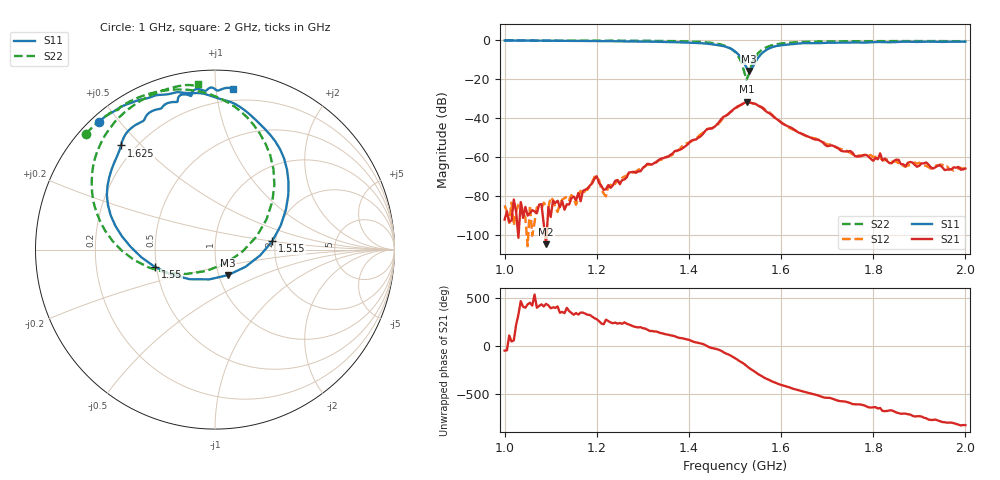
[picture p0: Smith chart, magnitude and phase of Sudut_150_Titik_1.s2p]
# Hz S RI R 50
! CMT, C1220, 16058040, 17.2.0/1
! Date: 14/08/2018 12:56:04
! Data: Format (Calibration Info)
! Freq  S11: Re/Im (F2)  S21: Re/Im (F2)  S12: Re/Im (F2)  S22: Re/Im (F2)
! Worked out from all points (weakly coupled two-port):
!   201 points, 1 GHz to 2 GHz, reference 50 ohm
!   highest |S21| = -31.66 dB at 1.525 GHz (marker M1); lowest = -104.5 dB at 1.09 GHz (marker M2)
!   lowest |S11| = -15.9 dB at 1.53 GHz (marker M3), VSWR 1.38, Z = 55.5 - j16.1 ohm
!   |S11| at or under -10 dB: 1.515 GHz to 1.548 GHz (32.35 MHz wide, 2.11 % of centre)
!   |S22| runs from -20.3 to -0.3 dB; largest |S21 - S12| = 0.0011
!   S11 on the Smith chart (normalised r, x): 1 GHz: 0.02, +0.44; 1.515 GHz: 1.92, +0.20; 1.55 GHz: 0.49, -0.11; 1.625 GHz: 0.15, +0.44; 2 GHz: 0.12, +1.11
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1e9  -0.6467 0.7135  1.72e-05 -1.88e-05  2.04e-05 5.52e-05  -0.719 0.6457
1.09e9  -0.548 0.7805  1.23e-06 5.82e-06  2.91e-05 4.57e-05  -0.6508 0.7102
1.165e9  -0.4625 0.819  7.32e-05 -1.64e-05  0.000127 -5.55e-05  -0.5822 0.7625
1.17e9  -0.4561 0.8219  0.000134 -3.01e-05  8.6e-05 -7.39e-05  -0.5767 0.7655
1.2e9  -0.411 0.836  4.89e-05 -0.000322  5.49e-05 -0.000315  -0.5429 0.7776
1.22e9  -0.3821 0.8419  1.03e-05 -0.000155  8.8e-06 -9.92e-05  -0.5307 0.791
1.225e9  -0.3736 0.8444  -3.38e-05 -0.000191  -8.26e-05 -0.000165  -0.5254 0.7958
1.335e9  -0.1772 0.8739  -0.000669 0.000548  -0.000612 0.000576  -0.3599 0.8698
1.45e9  0.2029 0.7449  0.00508 -0.00197  0.00509 -0.00228  0.0464 0.8336
1.5e9  0.4085 0.3044  -0.0104 -0.0145  -0.00979 -0.0136  0.3308 0.3615
1.515e9  0.3193 0.0471  -0.0221 -0.00356  -0.0222 -0.0042  0.231 0.0722
1.525e9  0.1698 -0.0959  -0.0235 0.0114  -0.0238 0.0114  0.0596 -0.0765
1.53e9  0.0739 -0.1417  -0.0176 0.0182  -0.0177 0.0183  -0.0495 -0.1196
1.55e9  -0.3343 -0.0972  0.0073 0.0196  0.00651 0.0199  -0.4501 -0.0581
1.58e9  -0.5966 0.2486  0.0118 -0.00138  0.0122 -0.00188  -0.6769 0.2652
1.625e9  -0.5239 0.5803  0.000771 -0.00537  0.000891 -0.00509  -0.6495 0.5622
1.67e9  -0.4072 0.7123  -0.00222 -0.00191  -0.00233 -0.00202  -0.5661 0.7012
1.8e9  -0.2009 0.8536  9.97e-05 0.000804  0.000225 0.000971  -0.3625 0.857
1.815e9  -0.1701 0.865  0.000298 0.00122  0.000342 0.000905  -0.3419 0.8668
1.835e9  -0.134 0.8559  0.000442 0.000555  0.000624 0.000531  -0.315 0.8778
1.975e9  0.0628 0.9009  8.23e-05 -0.000548  2.46e-05 -0.000453  -0.1247 0.9155
2e9  0.0997 0.8925  -9.85e-05 -0.000504  -0.000164 -0.000583  -0.0974 0.9223
